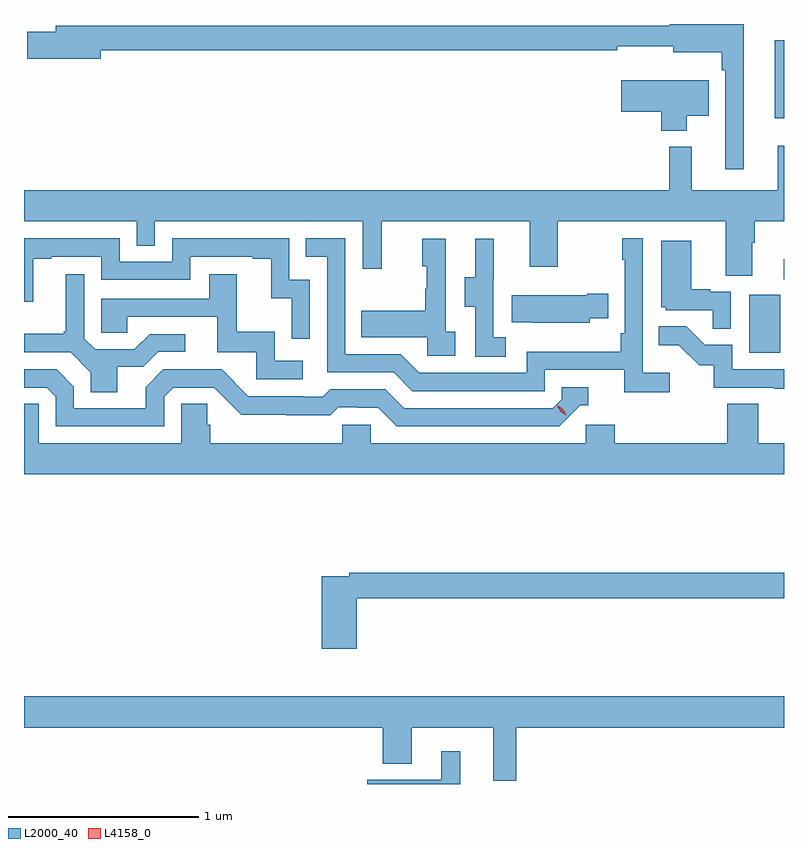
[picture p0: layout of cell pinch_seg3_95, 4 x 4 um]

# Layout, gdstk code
import gdstk
lib = gdstk.Library(unit=1e-6, precision=1e-09)
def R(c, l, rs):  # rectangles x0, y0, x1, y1
    for r in rs: c.add(gdstk.rectangle(r[:2], r[2:], *l))
def P(c, l, *ps):  # polygons
    for p in ps: c.add(gdstk.Polygon(p, *l))
L2000_40 = (2000, 40)
L4158_0 = (4158, 0)

pinch_seg3_95 = lib.new_cell('pinch_seg3_95')
R(pinch_seg3_95, L2000_40, [(1061.354,722.868,1061.518,723.175), (1061.535,723.255,1061.537,723.361), (1061.489,724.103,1061.537,724.513)])
P(pinch_seg3_95, L2000_40, [(1061.326,724.599),(1060.936,724.599),(1060.936,724.591),(1057.703,724.591),(1057.703,724.557),(1057.554,724.557),(1057.554,724.415),(1057.942,724.415),(1057.942,724.462),(1060.659,724.462),(1060.659,724.481),(1060.955,724.481),(1060.955,724.451),(1061.209,724.451),(1061.209,724.355),(1061.229,724.355),(1061.229,723.834),(1061.326,723.834)],
  [(1061.026,724.115),(1061.14,724.115),(1061.14,724.303),(1060.68,724.303),(1060.68,724.138),(1060.892,724.138),(1060.892,724.037),(1061.026,724.037)],
  [(1061.371,723.448),(1061.384,723.448),(1061.384,723.56),(1061.537,723.56),(1061.537,723.958),(1061.504,723.958),(1061.504,723.724),(1061.051,723.724),(1061.051,723.952),(1060.933,723.952),(1060.933,723.724),(1057.537,723.724),(1057.537,723.56),(1058.13,723.56),(1058.13,723.433),(1058.226,723.433),(1058.226,723.56),(1059.321,723.56),(1059.321,723.312),(1059.419,723.312),(1059.419,723.56),(1060.199,723.56),(1060.199,723.321),(1060.347,723.321),(1060.347,723.56),(1061.231,723.56),(1061.231,723.274),(1061.371,723.274)],
  [(1060.936,722.764),(1060.794,722.764),(1060.794,723.472),(1060.686,723.472),(1060.686,723.359),(1060.698,723.359),(1060.698,722.971),(1060.678,722.971),(1060.678,722.875),(1060.182,722.875),(1060.182,722.763),(1059.618,722.763),(1059.519,722.862),(1059.228,722.862),(1059.228,723.471),(1059.019,723.471),(1059.019,723.375),(1059.132,723.375),(1059.132,722.766),(1059.482,722.766),(1059.581,722.667),(1060.278,722.667),(1060.278,722.778),(1060.697,722.778),(1060.697,722.662),(1060.936,722.662)],
  [(1059.042,723.252),(1058.934,723.252),(1058.934,723.471),(1058.316,723.471),(1058.316,723.348),(1058.04,723.348),(1058.04,723.471),(1057.537,723.471),(1057.537,723.137),(1057.585,723.137),(1057.585,723.363),(1057.681,723.363),(1057.681,723.375),(1057.944,723.375),(1057.944,723.252),(1058.412,723.252),(1058.412,723.375),(1058.741,723.375),(1058.741,723.363),(1058.837,723.363),(1058.837,723.155),(1058.946,723.155),(1058.946,722.943),(1059.042,722.943)],
  [(1060.072,722.951),(1060.008,722.951),(1060.008,723.255),(1060.01,723.255),(1060.01,723.469),(1059.911,723.469),(1059.911,723.267),(1059.857,723.267),(1059.857,723.112),(1059.912,723.112),(1059.912,722.848),(1060.072,722.848)],
  [(1059.808,722.978),(1059.756,722.978),(1059.756,723.469),(1059.632,723.469),(1059.632,723.324),(1059.658,723.324),(1059.658,723.206),(1059.648,723.206),(1059.648,723.091),(1059.313,723.091),(1059.313,722.951),(1059.66,722.951),(1059.66,722.853),(1059.808,722.853)],
  [(1061.256,723.189),(1061.15,723.189),(1061.15,723.202),(1061.05,723.202),(1061.05,723.457),(1060.892,723.457),(1060.892,723.108),(1060.914,723.108),(1060.914,723.093),(1061.161,723.093),(1061.161,722.995),(1061.256,722.995)],
  [(1059.004,722.826),(1058.856,722.826),(1058.856,722.98),(1058.657,722.98),(1058.657,723.283),(1058.513,723.283),(1058.513,723.153),(1057.944,723.153),(1057.944,722.973),(1058.081,722.973),(1058.081,723.057),(1058.555,723.057),(1058.555,722.871),(1058.76,722.871),(1058.76,722.73),(1059.004,722.73)],
  [(1058.029,722.794),(1058.164,722.794),(1058.244,722.874),(1058.386,722.874),(1058.386,722.967),(1058.198,722.967),(1058.117,722.886),(1057.911,722.886),(1057.854,722.943),(1057.854,723.283),(1057.757,723.283),(1057.757,722.98),(1057.746,722.98),(1057.746,722.968),(1057.537,722.968),(1057.537,722.871),(1057.782,722.871),(1057.889,722.764),(1057.889,722.662),(1058.029,722.662)],
  [(1060.515,723.05),(1060.613,723.05),(1060.613,723.18),(1060.502,723.18),(1060.502,723.172),(1060.105,723.172),(1060.105,723.029),(1060.213,723.029),(1060.213,723.026),(1060.515,723.026)],
  [(1061.537,722.781),(1061.265,722.781),(1061.265,722.91),(1061.121,722.91),(1061.023,723.008),(1060.879,723.008),(1060.879,722.909),(1060.983,722.909),(1061.09,722.802),(1061.167,722.802),(1061.167,722.685),(1061.485,722.685),(1061.485,722.68),(1061.537,722.68)],
  [(1058.274,722.637),(1058.322,722.685),(1058.538,722.685),(1058.68,722.543),(1058.916,722.543),(1058.916,722.541),(1059.149,722.541),(1059.191,722.583),(1059.294,722.583),(1059.294,722.58),(1059.401,722.58),(1059.5,722.481),(1060.353,722.481),(1060.464,722.592),(1060.507,722.592),(1060.507,722.688),(1060.368,722.688),(1060.368,722.625),(1060.32,722.577),(1059.537,722.577),(1059.438,722.676),(1059.149,722.676),(1059.11,722.637),(1059.011,722.637),(1059.011,722.64),(1058.718,722.64),(1058.577,722.781),(1058.271,722.781),(1058.177,722.687),(1058.177,722.577),(1057.8,722.577),(1057.8,722.691),(1057.71,722.781),(1057.537,722.781),(1057.537,722.685),(1057.656,722.685),(1057.704,722.637),(1057.704,722.481),(1058.274,722.481)],
  [(1061.537,722.392),(1061.402,722.392),(1061.402,722.6),(1061.237,722.6),(1061.237,722.392),(1060.646,722.392),(1060.646,722.49),(1060.494,722.49),(1060.494,722.392),(1059.363,722.392),(1059.363,722.49),(1059.213,722.49),(1059.213,722.392),(1058.516,722.392),(1058.516,722.49),(1058.501,722.49),(1058.501,722.6),(1058.364,722.6),(1058.364,722.392),(1057.614,722.392),(1057.614,722.6),(1057.537,722.6),(1057.537,722.228),(1061.537,722.228)],
  [(1059.287,721.576),(1061.537,721.576),(1061.537,721.712),(1059.25,721.712),(1059.25,721.692),(1059.104,721.692),(1059.104,721.311),(1059.287,721.311)],
  [(1060.129,720.896),(1061.537,720.896),(1061.537,721.06),(1057.537,721.06),(1057.537,720.896),(1059.425,720.896),(1059.425,720.706),(1059.577,720.706),(1059.577,720.896),(1060.007,720.896),(1060.007,720.615),(1060.129,720.615)],
  [(1059.832,720.772),(1059.734,720.772),(1059.734,720.621),(1059.344,720.621),(1059.344,720.599),(1059.832,720.599)])
P(pinch_seg3_95, L4158_0, [(1060.391,722.539),(1060.361,722.559),(1060.344,722.591),(1060.344,722.591),(1060.345,722.591),(1060.375,722.572),(1060.391,722.54),(1060.391,722.539)])

lib.write_gds('pinch_seg3_95.gds')
